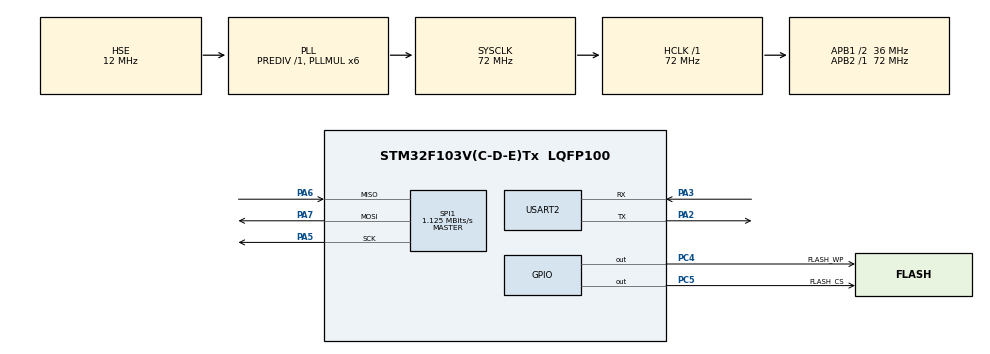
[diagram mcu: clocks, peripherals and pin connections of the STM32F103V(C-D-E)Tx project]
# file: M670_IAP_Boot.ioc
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Mcu.Family=STM32F1
Mcu.Name=STM32F103V(C-D-E)Tx
Mcu.Package=LQFP100
NVIC.PriorityGroup=NVIC_PRIORITYGROUP_2
NVIC.USART2_IRQn=true\:1\:1\:true\:false\:true\:true\:true\:true
OSC_IN.Mode=HSE-External-Oscillator
OSC_IN.Signal=RCC_OSC_IN
OSC_OUT.Mode=HSE-External-Oscillator
OSC_OUT.Signal=RCC_OSC_OUT
PA13.Mode=Serial_Wire
PA13.Signal=SYS_JTMS-SWDIO
PA14.Mode=Serial_Wire
PA14.Signal=SYS_JTCK-SWCLK
PA2.Mode=Asynchronous
PA2.Signal=USART2_TX
PA3.Mode=Asynchronous
PA3.Signal=USART2_RX
PA5.Mode=Full_Duplex_Master
PA5.Signal=SPI1_SCK
PA6.Mode=Full_Duplex_Master
PA6.Signal=SPI1_MISO
PA7.Mode=Full_Duplex_Master
PA7.Signal=SPI1_MOSI
PC14-OSC32_IN.Mode=LSE-External-Oscillator
PC14-OSC32_IN.Signal=RCC_OSC32_IN
PC15-OSC32_OUT.Mode=LSE-External-Oscillator
PC15-OSC32_OUT.Signal=RCC_OSC32_OUT
PC4.GPIO_Label=FLASH_WP
PC4.PinState=GPIO_PIN_SET
PC4.Signal=GPIO_Output
PC5.GPIO_Label=FLASH_CS
PC5.PinState=GPIO_PIN_SET
PC5.Signal=GPIO_Output
ProjectManager.HeapSize=0x200
ProjectManager.StackSize=0x400
ProjectManager.TargetToolchain=MDK-ARM V5.32
RCC.AHBFreq_Value=72000000
RCC.APB1CLKDivider=RCC_HCLK_DIV2
RCC.APB1Freq_Value=36000000
RCC.APB1TimFreq_Value=72000000
RCC.APB2Freq_Value=72000000
RCC.APB2TimFreq_Value=72000000
RCC.HCLKFreq_Value=72000000
RCC.HSE_VALUE=12000000
RCC.PLLMUL=RCC_PLL_MUL6
RCC.PLLSourceVirtual=RCC_PLLSOURCE_HSE
RCC.SYSCLKFreq_VALUE=72000000
RCC.SYSCLKSource=RCC_SYSCLKSOURCE_PLLCLK
RCC.USBFreq_Value=72000000
SPI1.BaudRatePrescaler=SPI_BAUDRATEPRESCALER_64
SPI1.CLKPhase=SPI_PHASE_2EDGE
SPI1.CLKPolarity=SPI_POLARITY_HIGH
SPI1.CalculateBaudRate=1.125 MBits/s
SPI1.Direction=SPI_DIRECTION_2LINES
SPI1.Mode=SPI_MODE_MASTER
SPI1.VirtualType=VM_MASTER
USART2.VirtualMode=VM_ASYNC
board=custom

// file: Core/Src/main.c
/* USER CODE BEGIN Header */
/**
  ******************************************************************************
  * @file           : main.c
  * @brief          : Main program body
  ******************************************************************************
  * @attention
  *
  * Copyright (c) 2023 STMicroelectronics.
  * All rights reserved.
  *
  * This software is licensed under terms that can be found in the LICENSE file
  * in the root directory of this software component.
  * If no LICENSE file comes with this software, it is provided AS-IS.
  *
  ******************************************************************************
  */
/* USER CODE END Header */
#include "main.h"

/* USER CODE BEGIN Includes */
//#define TEST_W25X16
//#define TEST_INTERNAL_FLASH
/* USER CODE END Includes */

SPI_HandleTypeDef hspi1;

UART_HandleTypeDef huart2;

void SystemClock_Config(void);
static void MX_GPIO_Init(void);
static void MX_SPI1_Init(void);
static void MX_USART2_UART_Init(void);

/* USER CODE BEGIN 0 */
uint32_t i = 0;
#ifdef TEST_W25X16
static uint8_t test_data[8] = {1,32,3,4,5,6,7,8};
static uint8_t read_data[8] = {0};
#endif
#ifdef TEST_INTERNAL_FLASH
static uint32_t test_data[4] = {0x20000c10, 0x44556677, 0x8899aabb, 0xccddeeff};
static uint32_t read_data[4] = {0};
#endif

static void check_reset_source(void)//获取复位源
{
    if(__HAL_RCC_GET_FLAG(RCC_FLAG_PINRST) != RESET){// NRST 引脚复位

        AEGIS_PRINT("PIN reset \r\n");
		}
    else if(__HAL_RCC_GET_FLAG(RCC_FLAG_PORRST) != RESET){// 上电掉电复位

        AEGIS_PRINT("POR/PDR reset \r\n");
		}
    else if(__HAL_RCC_GET_FLAG(RCC_FLAG_SFTRST) != RESET){//  软件复位

        AEGIS_PRINT("Software reset  \r\n");
		}
    else if(__HAL_RCC_GET_FLAG(RCC_FLAG_IWDGRST) != RESET){// 独立看门狗复位

        AEGIS_PRINT("Independent watchdog reset \r\n");
		}
    else if(__HAL_RCC_GET_FLAG(RCC_FLAG_WWDGRST) != RESET){// 窗口看门狗复位

        AEGIS_PRINT("Window watchdog reset \r\n");
		}
    else if(__HAL_RCC_GET_FLAG(RCC_FLAG_LPWRRST) != RESET){//低电压复位

        AEGIS_PRINT("Low-power reset \r\n");
		}
    __HAL_RCC_CLEAR_RESET_FLAGS();			//清除复位标志
}

/* USER CODE END 0 */

int main(void)
{
  /* USER CODE BEGIN 1 */
//	SCB->VTOR = FLASH_BASE;
  /* USER CODE END 1 */

  /* MCU Configuration--------------------------------------------------------*/

  /* Reset of all peripherals, Initializes the Flash interface and the Systick. */
  HAL_Init();

  /* Configure the system clock */
  SystemClock_Config();

  /* USER CODE BEGIN SysInit */
  check_reset_source();
  /* USER CODE END SysInit */

  /* Initialize all configured peripherals */
  MX_GPIO_Init();
  MX_SPI1_Init();
  MX_USART2_UART_Init();
  /* USER CODE BEGIN 2 */

	W25X16_CS_HIGH
	W25X16_WP_Low

	AEGIS_PRINT("  IAP BOOT init complete...\n");

#ifdef TEST_W25X16
	W25X16_erase_sector(FLASH_APP_HEX_FILE_SECTOR_BASE);
	HAL_Delay(100);
	W25X16_write_x_byte(test_data, (FLASH_APP_HEX_FILE_SECTOR_BASE << 12), sizeof(test_data));
	HAL_Delay(100);
	W25X16_read_x_byte(read_data, (FLASH_APP_HEX_FILE_SECTOR_BASE << 12), sizeof(read_data));
	for (i = 0; i < 8; i++){
		AEGIS_PRINT("  read_data[%d]:%d\n", i, read_data[i])
	}
#endif

#ifdef TEST_INTERNAL_FLASH
	if(write_intternal_flash(APP_FLASH_BASE_ADDR, 1, test_data, 4)){//大端模式

		AEGIS_PRINT("  write error\n");
	}
	read_intternal_flash(APP_FLASH_BASE_ADDR, read_data, 4);
	for (i = 0; i < 4; i++){

		AEGIS_PRINT("  read_data[%d]:0x%x\n", i, read_data[i])
	}
#endif

  /* USER CODE END 2 */

  /* Infinite loop */
  while (1)
  {
		boot_app_task();
  }
}

void SystemClock_Config(void)
{
  RCC_OscInitTypeDef RCC_OscInitStruct = {0};
  RCC_ClkInitTypeDef RCC_ClkInitStruct = {0};

  /** Initializes the RCC Oscillators according to the specified parameters
  * in the RCC_OscInitTypeDef structure.
  */
  RCC_OscInitStruct.OscillatorType = RCC_OSCILLATORTYPE_HSE;
  RCC_OscInitStruct.HSEState = RCC_HSE_ON;
  RCC_OscInitStruct.HSEPredivValue = RCC_HSE_PREDIV_DIV1;
  RCC_OscInitStruct.HSIState = RCC_HSI_ON;
  RCC_OscInitStruct.PLL.PLLState = RCC_PLL_ON;
  RCC_OscInitStruct.PLL.PLLSource = RCC_PLLSOURCE_HSE;
  RCC_OscInitStruct.PLL.PLLMUL = RCC_PLL_MUL6;
  if (HAL_RCC_OscConfig(&RCC_OscInitStruct) != HAL_OK)
  {
    Error_Handler();
  }

  /** Initializes the CPU, AHB and APB buses clocks
  */
  RCC_ClkInitStruct.ClockType = RCC_CLOCKTYPE_HCLK|RCC_CLOCKTYPE_SYSCLK
                              |RCC_CLOCKTYPE_PCLK1|RCC_CLOCKTYPE_PCLK2;
  RCC_ClkInitStruct.SYSCLKSource = RCC_SYSCLKSOURCE_PLLCLK;
  RCC_ClkInitStruct.AHBCLKDivider = RCC_SYSCLK_DIV1;
  RCC_ClkInitStruct.APB1CLKDivider = RCC_HCLK_DIV2;
  RCC_ClkInitStruct.APB2CLKDivider = RCC_HCLK_DIV1;

  if (HAL_RCC_ClockConfig(&RCC_ClkInitStruct, FLASH_LATENCY_2) != HAL_OK)
  {
    Error_Handler();
  }
}

static void MX_SPI1_Init(void)
{

  /* SPI1 parameter configuration*/
  hspi1.Instance = SPI1;
  hspi1.Init.Mode = SPI_MODE_MASTER;
  hspi1.Init.Direction = SPI_DIRECTION_2LINES;
  hspi1.Init.DataSize = SPI_DATASIZE_8BIT;
  hspi1.Init.CLKPolarity = SPI_POLARITY_HIGH;
  hspi1.Init.CLKPhase = SPI_PHASE_2EDGE;
  hspi1.Init.NSS = SPI_NSS_SOFT;
  hspi1.Init.BaudRatePrescaler = SPI_BAUDRATEPRESCALER_64;
  hspi1.Init.FirstBit = SPI_FIRSTBIT_MSB;
  hspi1.Init.TIMode = SPI_TIMODE_DISABLE;
  hspi1.Init.CRCCalculation = SPI_CRCCALCULATION_DISABLE;
  hspi1.Init.CRCPolynomial = 10;
  if (HAL_SPI_Init(&hspi1) != HAL_OK)
  {
    Error_Handler();
  }

}

static void MX_USART2_UART_Init(void)
{

  huart2.Instance = USART2;
  huart2.Init.BaudRate = 115200;
  huart2.Init.WordLength = UART_WORDLENGTH_8B;
  huart2.Init.StopBits = UART_STOPBITS_1;
  huart2.Init.Parity = UART_PARITY_NONE;
  huart2.Init.Mode = UART_MODE_TX_RX;
  huart2.Init.HwFlowCtl = UART_HWCONTROL_NONE;
  huart2.Init.OverSampling = UART_OVERSAMPLING_16;
  if (HAL_UART_Init(&huart2) != HAL_OK)
  {
    Error_Handler();
  }

}

static void MX_GPIO_Init(void)
{
  GPIO_InitTypeDef GPIO_InitStruct = {0};

  /* GPIO Ports Clock Enable */
  __HAL_RCC_GPIOC_CLK_ENABLE();
  __HAL_RCC_GPIOA_CLK_ENABLE();

  /*Configure GPIO pin Output Level */
  HAL_GPIO_WritePin(GPIOC, FLASH_WP_Pin|FLASH_CS_Pin, GPIO_PIN_SET);

  /*Configure GPIO pins : FLASH_WP_Pin FLASH_CS_Pin */
  GPIO_InitStruct.Pin = FLASH_WP_Pin|FLASH_CS_Pin;
  GPIO_InitStruct.Mode = GPIO_MODE_OUTPUT_PP;
  GPIO_InitStruct.Pull = GPIO_NOPULL;
  GPIO_InitStruct.Speed = GPIO_SPEED_FREQ_LOW;
  HAL_GPIO_Init(GPIOC, &GPIO_InitStruct);

}

void Error_Handler(void)
{
  __disable_irq();
  while (1)
  {
  }
}
